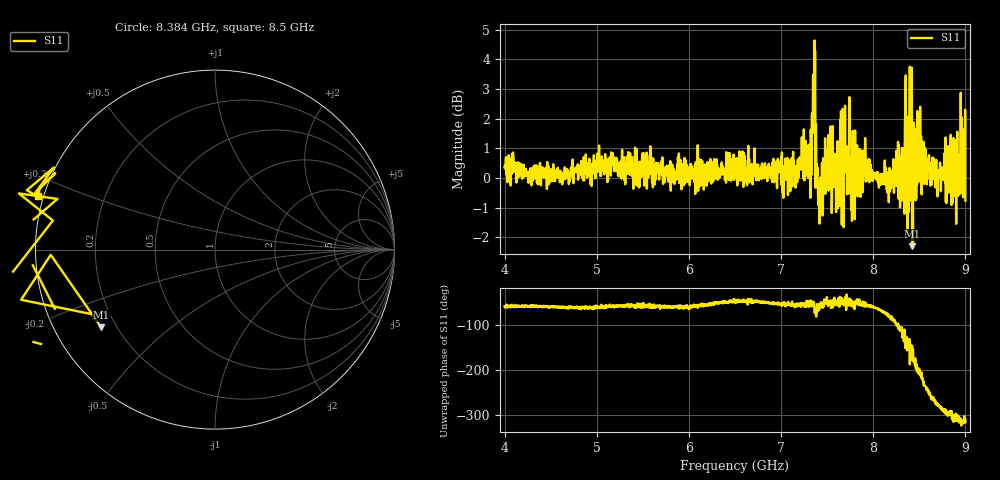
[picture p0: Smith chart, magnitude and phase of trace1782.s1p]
! Created with skrf 1.8.0 (http://scikit-rf.org).
# Hz S RI R 50.0
!freq ReS11 ImS11
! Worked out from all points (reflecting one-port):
!   1601 points, 4 GHz to 9 GHz, reference 50 ohm
!   lowest |S11| = -2.3 dB at 8.422 GHz (marker M1), VSWR 7.62, Z = 7.18 - j15.2 ohm
!   phase of S11 starts at -58 deg and turns -253 deg over the sweep
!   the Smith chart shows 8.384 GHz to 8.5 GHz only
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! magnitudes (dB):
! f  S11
! 4 GHz  0.4
! 4.625 GHz  -0.2
! 5.25 GHz  0.2
! 5.875 GHz  0.5
! 6.5 GHz  0.2
! 7.125 GHz  0.5
! 7.294 GHz  0.0
! 7.319 GHz  -0.7
! 7.347 GHz  3.5
! 7.372 GHz  2.0
! 7.4 GHz  -0.3
! 7.428 GHz  -0.3
! 7.512 GHz  1.4
! 7.609 GHz  0.2
! 7.669 GHz  1.8
! 7.75 GHz  0.7
! 7.784 GHz  -0.2
! 7.828 GHz  0.4
! 8.312 GHz  1.0
! 8.334 GHz  -0.6
! 8.347 GHz  2.1
! 8.375 GHz  2.0
! 8.422 GHz  -2.3
! 8.447 GHz  1.7
! 8.525 GHz  -0.5
! 8.712 GHz  0.2
! 8.972 GHz  0.5
! 9 GHz  -0.8
